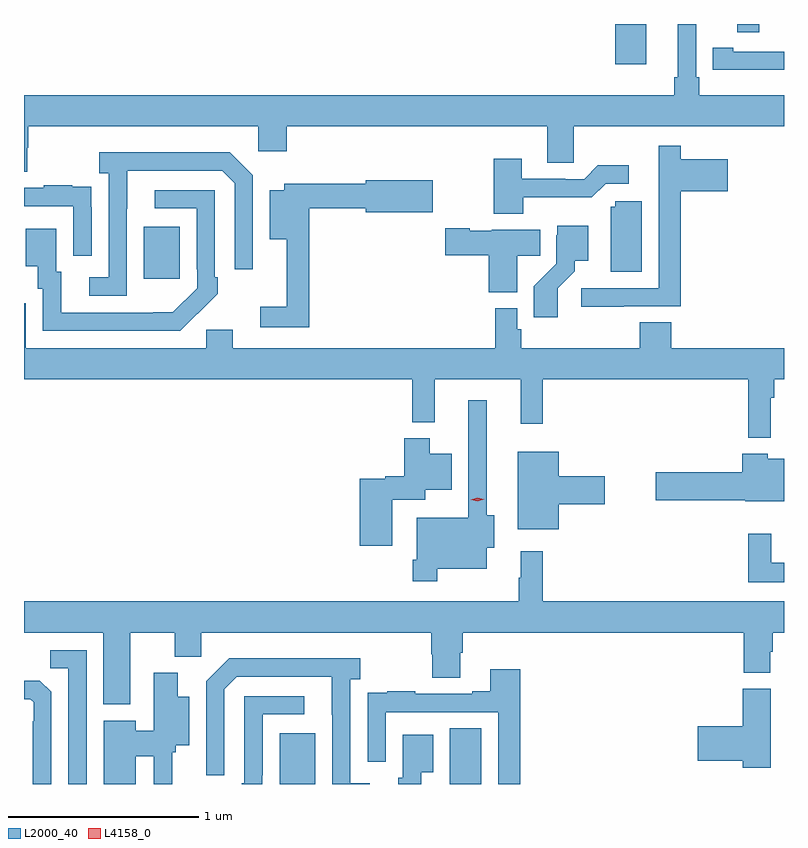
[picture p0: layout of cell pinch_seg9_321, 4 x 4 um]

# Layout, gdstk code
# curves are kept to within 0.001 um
import gdstk
lib = gdstk.Library(unit=1e-6, precision=1e-09)
def R(c, l, rs):  # rectangles x0, y0, x1, y1
    for r in rs: c.add(gdstk.rectangle(r[:2], r[2:], *l))
def P(c, l, *ps):  # polygons
    for p in ps: c.add(gdstk.Polygon(p, *l))
L2000_40 = (2000, 40)
L4158_0 = (4158, 0)

pinch_seg9_321 = lib.new_cell('pinch_seg9_321')
R(pinch_seg9_321, L2000_40, [(598.253,1184.967,598.441,1185.235), (599.15,1184.967,599.314,1185.26), (597.539,1187.625,597.727,1187.899), (600.02,1188.756,600.184,1188.967), (600.662,1188.924,600.779,1188.967)])
P(pinch_seg9_321, L2000_40, [(596.925,1188.315),(596.93,1188.315),(596.93,1188.428),(598.14,1188.428),(598.14,1188.297),(598.292,1188.297),(598.292,1188.428),(599.663,1188.428),(599.663,1188.238),(599.802,1188.238),(599.802,1188.428),(600.908,1188.428),(600.908,1188.592),(600.461,1188.592),(600.461,1188.688),(600.447,1188.688),(600.447,1188.967),(600.35,1188.967),(600.35,1188.688),(600.331,1188.688),(600.331,1188.592),(596.908,1188.592),(596.908,1188.19),(596.925,1188.19)],
  [(600.908,1188.822),(600.64,1188.822),(600.64,1188.842),(600.532,1188.842),(600.532,1188.726),(600.64,1188.726),(600.64,1188.725),(600.908,1188.725)],
  [(600.065,1187.481),(600.365,1187.481),(600.365,1188.086),(600.613,1188.086),(600.613,1188.256),(600.365,1188.256),(600.365,1188.325),(600.248,1188.325),(600.248,1188.102),(600.249,1188.102),(600.249,1187.577),(599.841,1187.577),(599.841,1187.479),(600.065,1187.479)],
  [(597.45,1187.995),(597.451,1188.195),(597.951,1188.195),(598.017,1188.129),(598.017,1187.676),(598.113,1187.676),(598.113,1188.171),(597.992,1188.292),(597.303,1188.292),(597.303,1188.182),(597.354,1188.182),(597.354,1187.634),(597.252,1187.634),(597.252,1187.538),(597.45,1187.538)],
  [(599.535,1188.054),(599.897,1188.054),(599.97,1188.126),(600.091,1188.126),(600.091,1188.223),(599.929,1188.223),(599.856,1188.15),(599.756,1188.15),(599.756,1188.153),(599.527,1188.153),(599.527,1188.259),(599.38,1188.259),(599.38,1187.969),(599.535,1187.969)],
  [(598.409,1187.998),(598.706,1187.998),(598.706,1187.975),(599.059,1187.975),(599.059,1188.145),(598.706,1188.145),(598.706,1188.127),(598.278,1188.127),(598.278,1188.091),(598.202,1188.091),(598.202,1187.834),(598.292,1187.834),(598.292,1187.479),(598.152,1187.479),(598.152,1187.37),(598.409,1187.37)],
  [(597.264,1188.002),(597.263,1188.002),(597.263,1188.111),(597.161,1188.111),(597.161,1188.118),(597.013,1188.118),(597.013,1188.105),(596.908,1188.105),(596.908,1188.009),(597.168,1188.009),(597.168,1187.748),(597.264,1187.748)],
  [(597.821,1187.443),(597.822,1187.442),(597.927,1187.547),(597.927,1187.635),(597.912,1187.635),(597.912,1188.093),(597.597,1188.093),(597.597,1187.997),(597.816,1187.997),(597.816,1187.677),(597.819,1187.677),(597.819,1187.577),(597.691,1187.449),(597.103,1187.448),(597.103,1187.664),(597.079,1187.664),(597.079,1187.89),(596.918,1187.89),(596.918,1187.693),(596.981,1187.693),(596.981,1187.574),(597.006,1187.574),(597.006,1187.352),(597.73,1187.352)],
  [(600.16,1188.033),(600.021,1188.033),(600.021,1188.006),(599.996,1188.006),(599.996,1187.662),(600.16,1187.662)],
  [(599.716,1187.575),(599.806,1187.665),(599.806,1187.72),(599.878,1187.72),(599.878,1187.905),(599.714,1187.905),(599.714,1187.856),(599.709,1187.856),(599.709,1187.705),(599.59,1187.586),(599.59,1187.424),(599.716,1187.424)],
  [(599.503,1187.746),(599.624,1187.746),(599.624,1187.884),(599.37,1187.884),(599.37,1187.878),(599.253,1187.878),(599.253,1187.891),(599.124,1187.891),(599.124,1187.749),(599.354,1187.749),(599.354,1187.555),(599.503,1187.555)],
  [(600.837,1187),(600.857,1187),(600.857,1187.096),(600.908,1187.096),(600.908,1187.26),(600.314,1187.26),(600.314,1187.396),(600.149,1187.396),(600.149,1187.26),(599.525,1187.26),(599.525,1187.361),(599.505,1187.361),(599.505,1187.47),(599.389,1187.47),(599.389,1187.26),(598.006,1187.26),(598.006,1187.358),(597.867,1187.358),(597.867,1187.26),(596.917,1187.26),(596.917,1187.496),(596.908,1187.496),(596.908,1187.096),(598.951,1187.096),(598.951,1186.871),(599.069,1186.871),(599.069,1187.096),(599.522,1187.096),(599.522,1186.863),(599.639,1186.863),(599.639,1187.096),(600.721,1187.096),(600.721,1186.79),(600.837,1186.79)],
  [(599.083,1186.1),(599.344,1186.1),(599.344,1186.211),(599.383,1186.211),(599.383,1186.382),(599.344,1186.382),(599.344,1186.987),(599.247,1186.987),(599.247,1186.369),(598.974,1186.369),(598.974,1186.147),(598.954,1186.147),(598.954,1186.035),(599.083,1186.035)],
  [(598.846,1186.463),(599.019,1186.463),(599.019,1186.517),(599.158,1186.517),(599.158,1186.705),(599.044,1186.705),(599.044,1186.786),(598.91,1186.786),(598.91,1186.586),(598.809,1186.586),(598.809,1186.573),(598.676,1186.573),(598.676,1186.221),(598.846,1186.221)],
  [(599.722,1186.439),(599.965,1186.439),(599.965,1186.586),(599.722,1186.586),(599.722,1186.717),(599.507,1186.717),(599.507,1186.307),(599.722,1186.307)],
  [(600.908,1186.678),(600.822,1186.678),(600.822,1186.705),(600.689,1186.705),(600.689,1186.607),(600.234,1186.607),(600.234,1186.46),(600.705,1186.46),(600.705,1186.454),(600.908,1186.454)],
  [(600.908,1186.132),(600.841,1186.132),(600.841,1186.285),(600.72,1186.285),(600.72,1186.028),(600.908,1186.028)],
  [(599.639,1186.192),(599.522,1186.192),(599.522,1186.052),(599.511,1186.052),(599.511,1185.928),(596.908,1185.928),(596.908,1185.764),(597.326,1185.764),(597.326,1185.386),(597.466,1185.386),(597.466,1185.764),(597.701,1185.764),(597.701,1185.638),(597.84,1185.638),(597.84,1185.764),(599.051,1185.764),(599.051,1185.651),(599.056,1185.651),(599.056,1185.526),(599.203,1185.526),(599.203,1185.658),(599.216,1185.658),(599.216,1185.764),(600.695,1185.764),(600.695,1185.553),(600.835,1185.553),(600.835,1185.663),(600.848,1185.663),(600.848,1185.764),(600.908,1185.764),(600.908,1185.928),(599.639,1185.928)],
  [(597.237,1185.672),(597.046,1185.672),(597.046,1185.577),(597.141,1185.577),(597.141,1184.967),(597.237,1184.967)],
  [(598.729,1184.97),(598.626,1184.97),(598.626,1185.518),(598.678,1185.518),(598.678,1185.628),(597.988,1185.628),(597.867,1185.507),(597.867,1185.012),(597.963,1185.012),(597.963,1185.465),(598.029,1185.531),(598.529,1185.531),(598.53,1184.967),(598.729,1184.967)],
  [(599.519,1185.571),(599.363,1185.571),(599.363,1185.454),(599.267,1185.454),(599.267,1185.441),(598.967,1185.441),(598.967,1185.454),(598.819,1185.454),(598.819,1185.447),(598.717,1185.447),(598.717,1185.338),(598.716,1185.338),(598.716,1185.084),(598.812,1185.084),(598.812,1185.345),(599.403,1185.345),(599.403,1184.967),(599.519,1184.967)],
  [(597.496,1185.112),(597.591,1185.112),(597.591,1184.967),(597.689,1184.967),(597.689,1185.135),(597.706,1185.135),(597.706,1185.17),(597.778,1185.17),(597.778,1185.427),(597.718,1185.427),(597.718,1185.553),(597.59,1185.553),(597.59,1185.248),(597.496,1185.248),(597.496,1185.301),(597.329,1185.301),(597.329,1184.967),(597.496,1184.967)],
  [(597.051,1185.452),(596.992,1185.511),(596.908,1185.511),(596.908,1185.414),(596.94,1185.414),(596.958,1185.396),(596.958,1185.296),(596.955,1185.296),(596.955,1184.967),(597.051,1184.967)],
  [(600.838,1185.468),(600.692,1185.468),(600.692,1185.272),(600.453,1185.272),(600.453,1185.089),(600.692,1185.089),(600.692,1185.052),(600.838,1185.052)],
  [(598.161,1185.013),(598.164,1185.013),(598.164,1185.333),(598.384,1185.333),(598.384,1185.429),(598.068,1185.429),(598.068,1184.971),(598.053,1184.971),(598.053,1184.967),(598.161,1184.967)],
  [(598.999,1185.029),(599.062,1185.029),(599.062,1185.226),(598.901,1185.226),(598.901,1185),(598.877,1185),(598.877,1184.967),(598.999,1184.967)])
P(pinch_seg9_321, L4158_0, [(599.295,1186.454),(599.259,1186.462),(599.258,1186.463),(599.259,1186.463),(599.294,1186.474),(599.33,1186.466),(599.33,1186.466),(599.33,1186.466)])

lib.write_gds('pinch_seg9_321.gds')
